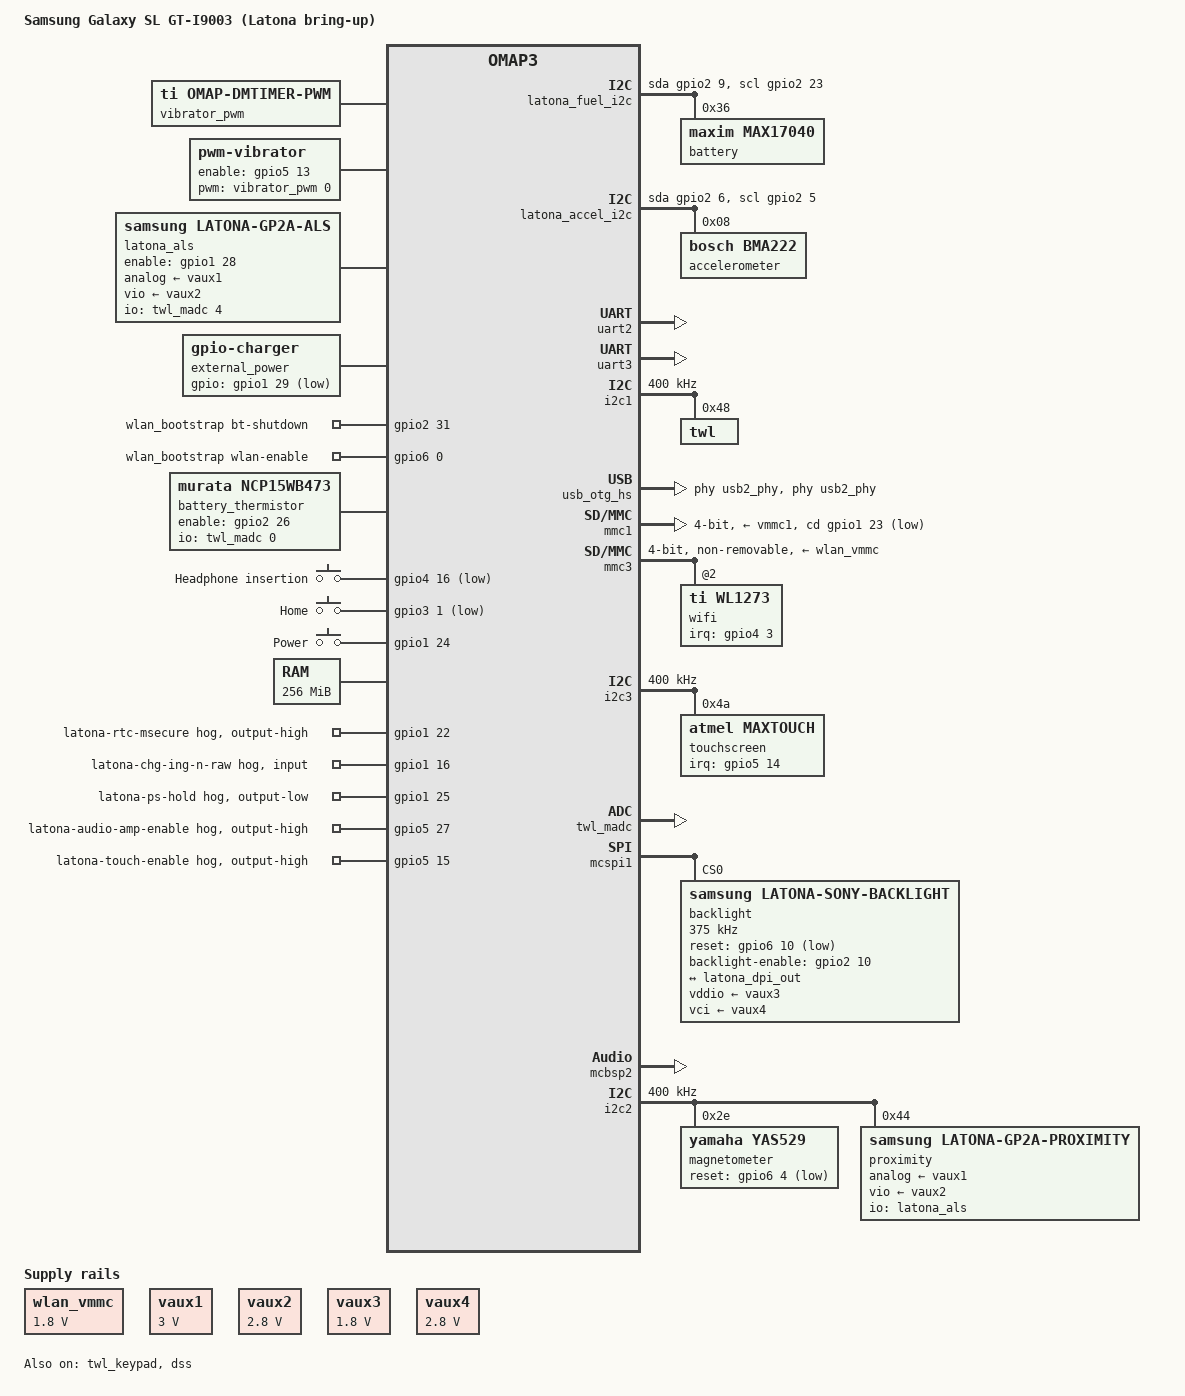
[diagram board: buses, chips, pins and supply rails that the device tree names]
// SPDX-License-Identifier: GPL-2.0-only
/* Experimental GT-I9003 bring-up; board wiring from Latona reference sources. */
/dts-v1/;
#include "omap36xx.dtsi"
#include <dt-bindings/interrupt-controller/irq.h>
#include <dt-bindings/input/input.h>

/ {
	model = "Samsung Galaxy SL GT-I9003 (Latona bring-up)";
	compatible = "samsung,latona", "ti,omap3630", "ti,omap3";
	aliases { display0 = &dss; };
    vibrator_pwm: vibrator-pwm {
        compatible = "ti,omap-dmtimer-pwm";
        #pwm-cells = <3>;
        ti,timers = <&timer10>;
        ti,clock-source = <0>; /* Reference OMAP_TIMER_SRC_SYS_CLK, 26MHz. */
        pinctrl-names = "default";
        pinctrl-0 = <&latona_vibrator_pwm_pin>;
    };
    vibrator {
        compatible = "pwm-vibrator";
        pwms = <&vibrator_pwm 0 44615 0>; /* 1160 / 26MHz. */
        pwm-names = "enable";
        enable-gpios = <&gpio5 13 GPIO_ACTIVE_HIGH>; /* GPIO141 */
        pinctrl-names = "default";
        pinctrl-0 = <&latona_vibrator_enable_pin>;
        /* No guessed PMIC supply: retain board power, use dummy regulator. */
    };

	chosen {
        #address-cells = <1>;
        #size-cells = <1>;
        ranges;
		stdout-path = "serial2:115200n8";
		linux,initrd-start = <0x82800000>;
		linux,initrd-end = <0x82b91d0c>;
        latona_simplefb: framebuffer@9fd80000 {
            compatible = "simple-framebuffer";
            reg = <0x9fd80000 0x00177000>;
            width = <480>;
            height = <800>;
            stride = <1920>;
            format = "x8r8g8b8";
            status = "disabled";
            display = <&dss>;
        };

	};
    latona_als: light-sensor {
        #io-channel-cells = <0>;
        compatible = "samsung,latona-gp2a-als";
        pinctrl-names = "default";
        pinctrl-0 = <&latona_als_enable_pin>;
        io-channels = <&twl_madc 4>;
        io-channel-names = "alsout";
        analog-supply = <&vaux1>;
        vio-supply = <&vaux2>;
        enable-gpios = <&gpio1 28 GPIO_ACTIVE_HIGH>;
    };
    external_power: external-power {
        compatible = "gpio-charger";
        charger-type = "unknown";
        gpios = <&gpio1 29 GPIO_ACTIVE_LOW>;
    };

    wlan_bootstrap: wlan-bootstrap {
        compatible = "samsung,latona-wl127x-pwrseq";
        vsim-test-supply = <&vsim>; /* b73 single-rail diagnostic, routing unconfirmed */
        bt-shutdown-gpios = <&gpio2 31 GPIO_ACTIVE_HIGH>; /* GPIO63 */
        wlan-enable-gpios = <&gpio6 0 GPIO_ACTIVE_HIGH>; /* GPIO160 */
        pinctrl-names = "default";
        pinctrl-0 = <&latona_bt_shutdown_pin &latona_wlan_enable_pin>;
    };
    wlan_vmmc: regulator-wlan {
        compatible = "regulator-fixed";
        regulator-name = "vwl1271";
        regulator-min-microvolt = <1800000>;
        regulator-max-microvolt = <1800000>;
        /* Nominal I/O voltage; WLAN_EN is owned exclusively by pwrseq. */
    };

    battery_thermistor: thermistor-battery {
        compatible = "murata,ncp15wb473";
        pinctrl-names = "default";
        pinctrl-0 = <&latona_temp_enable_pin>;
        io-channels = <&twl_madc 0>;
        enable-gpios = <&gpio2 26 GPIO_ACTIVE_HIGH>; /* GPIO58 EN_TEMP_VDD */
        startup-delay-us = <10000>;
        pullup-uv = <3000000>;
        pullup-ohm = <100000>;
        pulldown-ohm = <100000>;
    };

    latona_fuel_i2c: i2c-fuel {
        compatible = "i2c-gpio";
        #address-cells = <1>;
        #size-cells = <0>;
        pinctrl-names = "default";
        pinctrl-0 = <&latona_fuel_pins>;
        sda-gpios = <&gpio2 9 (GPIO_ACTIVE_HIGH | GPIO_OPEN_DRAIN)>; /* GPIO41 */
        scl-gpios = <&gpio2 23 (GPIO_ACTIVE_HIGH | GPIO_OPEN_DRAIN)>; /* GPIO55 */
        i2c-gpio,delay-us = <10>;
        i2c-gpio,timeout-ms = <100>;
        battery@36 {
            compatible = "maxim,max17040";
            reg = <0x36>;
            maxim,read-only;
        };
    };

    latona_accel_i2c: i2c-accel {
        compatible = "i2c-gpio";
        #address-cells = <1>;
        #size-cells = <0>;
        pinctrl-names = "default";
        pinctrl-0 = <&latona_accel_i2c_pins>;
        sda-gpios = <&gpio2 6 (GPIO_ACTIVE_HIGH | GPIO_OPEN_DRAIN)>; /* GPIO38 */
        scl-gpios = <&gpio2 5 (GPIO_ACTIVE_HIGH | GPIO_OPEN_DRAIN)>; /* GPIO37 */
        i2c-gpio,delay-us = <5>;
        i2c-gpio,timeout-ms = <100>;
        accelerometer@8 {
            compatible = "bosch,bma222";
            reg = <0x08>;
        };
    };

    gpio_keys: gpio-keys {
        compatible = "gpio-keys";
        pinctrl-names = "default";
        pinctrl-0 = <&latona_home_key_pin &latona_power_key_pin &latona_jack_detect_pin>;
        headphone-detect {
            label = "Headphone insertion";
            linux,input-type = <EV_SW>;
            linux,code = <SW_HEADPHONE_INSERT>;
            gpios = <&gpio4 16 GPIO_ACTIVE_LOW>; /* GPIO112, vendor invert=1 */
            debounce-interval = <100>;
        };
        home-key {
            label = "Home";
            linux,code = <KEY_HOME>;
            gpios = <&gpio3 1 GPIO_ACTIVE_LOW>; /* GPIO65, idle high */
            debounce-interval = <20>;
        };
        power-key {
            label = "Power";
            linux,code = <KEY_POWER>;
            gpios = <&gpio1 24 GPIO_ACTIVE_HIGH>; /* GPIO24, idle low */
            debounce-interval = <20>;
        };
    };

	/* Conservative window below unverified upper RAM reservations. */
	memory@80000000 {
		device_type = "memory";
		reg = <0x80000000 0x10000000>;
	};
	/* Initial hand-off only: preserve the panel's bootloader SPI setup. */
	latona_panel: panel {
		status = "disabled";
		compatible = "samsung,latona-sony-dpi", "panel-dpi";
		label = "lcd";
		power-supply = <&vaux4>;
		width-mm = <52>;
		height-mm = <86>;
		panel-timing {
			clock-frequency = <20571000>;
			hactive = <480>;
			vactive = <800>;
			hfront-porch = <10>;
			hsync-len = <10>;
			hback-porch = <10>;
			vfront-porch = <4>;
			vsync-len = <2>;
			vback-porch = <9>;
			hsync-active = <0>;
			vsync-active = <0>;
			de-active = <0>;
			pixelclk-active = <0>;
		};

	};
};

&cpu { cpu0-supply = <&vcc>; };

&omap3_pmx_core {
    latona_bt_shutdown_pin: latona-bt-shutdown-pin {
        pinctrl-single,pins = <OMAP3_CORE1_IOPAD(0x20ce, PIN_INPUT_PULLDOWN | MUX_MODE4)>;
    };

    latona_wlan_enable_pin: latona-wlan-enable-pin {
        pinctrl-single,pins = <OMAP3_CORE1_IOPAD(0x2194, PIN_INPUT_PULLUP | MUX_MODE4)>;
    };
    latona_wlan_irq_pin: latona-wlan-irq-pin {
        pinctrl-single,pins = <
            OMAP3_CORE1_IOPAD(0x2116, PIN_INPUT_PULLDOWN | MUX_MODE4) /* CAM_D0 GPIO99 */
        >;
    };

    latona_wlan_sdio_cmdclk: latona-wlan-sdio-cmdclk {
        pinctrl-single,pins = <
            OMAP3_CORE1_IOPAD(0x21d0, PIN_INPUT_PULLUP | MUX_MODE3)
            OMAP3_CORE1_IOPAD(0x21d2, PIN_INPUT_PULLUP | MUX_MODE3)
        >;
    };

    latona_dpi_default: latona-dpi-default {
        pinctrl-single,pins = <
            OMAP3_CORE1_IOPAD(0x20d4, 0x0200 | MUX_MODE0)
            OMAP3_CORE1_IOPAD(0x20d6, 0x0200 | MUX_MODE0)
            OMAP3_CORE1_IOPAD(0x20d8, 0x0200 | MUX_MODE0)
            OMAP3_CORE1_IOPAD(0x20da, 0x0200 | MUX_MODE0)
            OMAP3_CORE1_IOPAD(0x20dc, 0x1600 | MUX_MODE0)
            OMAP3_CORE1_IOPAD(0x20de, 0x1600 | MUX_MODE0)
            OMAP3_CORE1_IOPAD(0x20e0, 0x1600 | MUX_MODE0)
            OMAP3_CORE1_IOPAD(0x20e2, 0x1600 | MUX_MODE0)
            OMAP3_CORE1_IOPAD(0x20e4, 0x1600 | MUX_MODE0)
            OMAP3_CORE1_IOPAD(0x20e6, 0x1600 | MUX_MODE0)
            OMAP3_CORE1_IOPAD(0x20e8, 0x1600 | MUX_MODE0)
            OMAP3_CORE1_IOPAD(0x20ea, 0x1600 | MUX_MODE0)
            OMAP3_CORE1_IOPAD(0x20ec, 0x1600 | MUX_MODE0)
            OMAP3_CORE1_IOPAD(0x20ee, 0x1600 | MUX_MODE0)
            OMAP3_CORE1_IOPAD(0x20f0, 0x1600 | MUX_MODE0)
            OMAP3_CORE1_IOPAD(0x20f2, 0x1600 | MUX_MODE0)
            OMAP3_CORE1_IOPAD(0x20f4, 0x1600 | MUX_MODE0)
            OMAP3_CORE1_IOPAD(0x20f6, 0x1600 | MUX_MODE0)
            OMAP3_CORE1_IOPAD(0x20f8, 0x1600 | MUX_MODE0)
            OMAP3_CORE1_IOPAD(0x20fa, 0x1600 | MUX_MODE0)
            OMAP3_CORE1_IOPAD(0x20fc, 0x1600 | MUX_MODE0)
            OMAP3_CORE1_IOPAD(0x20fe, 0x1600 | MUX_MODE0)
            OMAP3_CORE1_IOPAD(0x2100, 0x1600 | MUX_MODE0)
            OMAP3_CORE1_IOPAD(0x2102, 0x1600 | MUX_MODE0)
            OMAP3_CORE1_IOPAD(0x2104, 0x1600 | MUX_MODE0)
            OMAP3_CORE1_IOPAD(0x2106, 0x1600 | MUX_MODE0)
            OMAP3_CORE1_IOPAD(0x2108, 0x1600 | MUX_MODE0)
            OMAP3_CORE1_IOPAD(0x210a, 0x1600 | MUX_MODE0)
        >;
    };
    latona_dpi_safe: latona-dpi-safe {
        pinctrl-single,pins = <
            OMAP3_CORE1_IOPAD(0x20d4, PIN_INPUT_PULLDOWN | MUX_MODE7)
            OMAP3_CORE1_IOPAD(0x20d6, PIN_INPUT_PULLDOWN | MUX_MODE7)
            OMAP3_CORE1_IOPAD(0x20d8, PIN_INPUT_PULLDOWN | MUX_MODE7)
            OMAP3_CORE1_IOPAD(0x20da, PIN_INPUT_PULLDOWN | MUX_MODE7)
            OMAP3_CORE1_IOPAD(0x20dc, PIN_INPUT_PULLDOWN | MUX_MODE7)
            OMAP3_CORE1_IOPAD(0x20de, PIN_INPUT_PULLDOWN | MUX_MODE7)
            OMAP3_CORE1_IOPAD(0x20e0, PIN_INPUT_PULLDOWN | MUX_MODE7)
            OMAP3_CORE1_IOPAD(0x20e2, PIN_INPUT_PULLDOWN | MUX_MODE7)
            OMAP3_CORE1_IOPAD(0x20e4, PIN_INPUT_PULLDOWN | MUX_MODE7)
            OMAP3_CORE1_IOPAD(0x20e6, PIN_INPUT_PULLDOWN | MUX_MODE7)
            OMAP3_CORE1_IOPAD(0x20e8, PIN_INPUT_PULLDOWN | MUX_MODE7)
            OMAP3_CORE1_IOPAD(0x20ea, PIN_INPUT_PULLDOWN | MUX_MODE7)
            OMAP3_CORE1_IOPAD(0x20ec, PIN_INPUT_PULLDOWN | MUX_MODE7)
            OMAP3_CORE1_IOPAD(0x20ee, PIN_INPUT_PULLDOWN | MUX_MODE7)
            OMAP3_CORE1_IOPAD(0x20f0, PIN_INPUT_PULLDOWN | MUX_MODE7)
            OMAP3_CORE1_IOPAD(0x20f2, PIN_INPUT_PULLDOWN | MUX_MODE7)
            OMAP3_CORE1_IOPAD(0x20f4, PIN_INPUT_PULLDOWN | MUX_MODE7)
            OMAP3_CORE1_IOPAD(0x20f6, PIN_INPUT_PULLDOWN | MUX_MODE7)
            OMAP3_CORE1_IOPAD(0x20f8, PIN_INPUT_PULLDOWN | MUX_MODE7)
            OMAP3_CORE1_IOPAD(0x20fa, PIN_INPUT_PULLDOWN | MUX_MODE7)
            OMAP3_CORE1_IOPAD(0x20fc, PIN_INPUT_PULLDOWN | MUX_MODE7)
            OMAP3_CORE1_IOPAD(0x20fe, PIN_INPUT_PULLDOWN | MUX_MODE7)
            OMAP3_CORE1_IOPAD(0x2100, PIN_INPUT_PULLDOWN | MUX_MODE7)
            OMAP3_CORE1_IOPAD(0x2102, PIN_INPUT_PULLDOWN | MUX_MODE7)
            OMAP3_CORE1_IOPAD(0x2104, PIN_INPUT_PULLDOWN | MUX_MODE7)
            OMAP3_CORE1_IOPAD(0x2106, PIN_INPUT_PULLDOWN | MUX_MODE7)
            OMAP3_CORE1_IOPAD(0x2108, PIN_INPUT_PULLDOWN | MUX_MODE7)
            OMAP3_CORE1_IOPAD(0x210a, PIN_INPUT_PULLDOWN | MUX_MODE7)
        >;
    };

    latona_panel_spi_default: latona-panel-spi-default {
        pinctrl-single,pins = <
            OMAP3_CORE1_IOPAD(0x21c8, PIN_INPUT_PULLDOWN | MUX_MODE0)
            OMAP3_CORE1_IOPAD(0x21ca, PIN_INPUT_PULLUP | MUX_MODE0)
            OMAP3_CORE1_IOPAD(0x21cc, PIN_INPUT | MUX_MODE0)
            OMAP3_CORE1_IOPAD(0x21ce, PIN_INPUT_PULLUP | MUX_MODE0)
        >;
    };
    latona_panel_spi_safe: latona-panel-spi-safe {
        pinctrl-single,pins = <
            OMAP3_CORE1_IOPAD(0x21c8, PIN_INPUT_PULLDOWN | MUX_MODE7)
            OMAP3_CORE1_IOPAD(0x21ca, PIN_INPUT_PULLDOWN | MUX_MODE7)
            OMAP3_CORE1_IOPAD(0x21cc, PIN_INPUT_PULLDOWN | MUX_MODE7)
            OMAP3_CORE1_IOPAD(0x21ce, PIN_INPUT_PULLDOWN | MUX_MODE7)
        >;
    };

    latona_temp_enable_pin: latona-temp-enable-pin {
        pinctrl-single,pins = <OMAP3_CORE1_IOPAD(0x20bc, PIN_INPUT_PULLDOWN | MUX_MODE4)>;
    };

    latona_accel_i2c_pins: latona-accel-i2c-pins {
        pinctrl-single,pins = <
            OMAP3_CORE1_IOPAD(0x2080, PIN_INPUT_PULLUP | MUX_MODE4)
            OMAP3_CORE1_IOPAD(0x2082, PIN_INPUT_PULLUP | MUX_MODE4)
        >;
    };
    latona_fuel_pins: latona-fuel-pins {
        pinctrl-single,pins = <
            OMAP3_CORE1_IOPAD(0x2088, PIN_INPUT_PULLUP | MUX_MODE4)
            OMAP3_CORE1_IOPAD(0x20b6, PIN_INPUT_PULLUP | MUX_MODE4)
        >;
    };

    latona_jack_detect_pin: latona-jack-detect-pin {
        /* CSI2_DX0, GPIO112; vendor input with pulls disabled. */
        pinctrl-single,pins = <OMAP3_CORE1_IOPAD(0x2134, PIN_INPUT | MUX_MODE4)>;
    };
    latona_home_key_pin: latona-home-key-pin {
        pinctrl-single,pins = <OMAP3_CORE1_IOPAD(0x20d2, PIN_INPUT | MUX_MODE4)>;
    };

    latona_i2c2_audio_pins: latona-i2c2-audio-pins {
        pinctrl-single,pins = <
            OMAP3_CORE1_IOPAD(0x21be, PIN_INPUT_PULLUP | MUX_MODE0)
            OMAP3_CORE1_IOPAD(0x21c0, PIN_INPUT_PULLUP | MUX_MODE0)
        >;
    };
    latona_amp_enable_pin: latona-amp-enable-pin {
        pinctrl-single,pins = <OMAP3_CORE1_IOPAD(0x218a, PIN_OUTPUT | MUX_MODE4)>;
    };
    latona_i2c3_pins: latona-i2c3-pins {
        pinctrl-single,pins = <
            OMAP3_CORE1_IOPAD(0x21c2, PIN_INPUT_PULLUP | MUX_MODE0)
            OMAP3_CORE1_IOPAD(0x21c4, PIN_INPUT_PULLUP | MUX_MODE0)
        >;
    };
    latona_touch_pins: latona-touch-pins {
        pinctrl-single,pins = <
            OMAP3_CORE1_IOPAD(0x2170, PIN_INPUT_PULLUP | MUX_MODE4)
            OMAP3_CORE1_IOPAD(0x2172, PIN_OUTPUT | MUX_MODE4)
        >;
    };

	latona_uart3_pins: latona-uart3-pins {
		pinctrl-single,pins = <
			OMAP3_CORE1_IOPAD(0x219e, PIN_INPUT | MUX_MODE0)
			OMAP3_CORE1_IOPAD(0x21a0, PIN_OUTPUT | MUX_MODE0)
		>;
	};
	latona_i2c1_pins: latona-i2c1-pins {
		pinctrl-single,pins = <
			OMAP3_CORE1_IOPAD(0x21ba, PIN_INPUT | MUX_MODE0)
			OMAP3_CORE1_IOPAD(0x21bc, PIN_INPUT | MUX_MODE0)
		>;
	};
	latona_usb_pins: latona-usb-pins {
		pinctrl-single,pins = <
			OMAP3_CORE1_IOPAD(0x21a2, PIN_INPUT | MUX_MODE0)
			OMAP3_CORE1_IOPAD(0x21a4, PIN_OUTPUT | MUX_MODE0)
			OMAP3_CORE1_IOPAD(0x21a6, PIN_INPUT | MUX_MODE0)
			OMAP3_CORE1_IOPAD(0x21a8, PIN_INPUT | MUX_MODE0)
			OMAP3_CORE1_IOPAD(0x21aa, PIN_INPUT | MUX_MODE0)
			OMAP3_CORE1_IOPAD(0x21ac, PIN_INPUT | MUX_MODE0)
			OMAP3_CORE1_IOPAD(0x21ae, PIN_INPUT | MUX_MODE0)
			OMAP3_CORE1_IOPAD(0x21b0, PIN_INPUT | MUX_MODE0)
			OMAP3_CORE1_IOPAD(0x21b2, PIN_INPUT | MUX_MODE0)
			OMAP3_CORE1_IOPAD(0x21b4, PIN_INPUT | MUX_MODE0)
			OMAP3_CORE1_IOPAD(0x21b6, PIN_INPUT | MUX_MODE0)
			OMAP3_CORE1_IOPAD(0x21b8, PIN_INPUT | MUX_MODE0)
		>;
	};
	latona_mmc1_pins: latona-mmc1-pins {
		pinctrl-single,pins = <
			OMAP3_CORE1_IOPAD(0x2144, PIN_INPUT_PULLUP | MUX_MODE0)
			OMAP3_CORE1_IOPAD(0x2146, PIN_INPUT_PULLUP | MUX_MODE0)
			OMAP3_CORE1_IOPAD(0x2148, PIN_INPUT_PULLUP | MUX_MODE0)
			OMAP3_CORE1_IOPAD(0x214a, PIN_INPUT_PULLUP | MUX_MODE0)
			OMAP3_CORE1_IOPAD(0x214c, PIN_INPUT_PULLUP | MUX_MODE0)
			OMAP3_CORE1_IOPAD(0x214e, PIN_INPUT_PULLUP | MUX_MODE0)
		>;
	};
};

&omap3_pmx_core2 {
    latona_rtc_msecure_pin: latona-rtc-msecure-pin {
        /* Latona vendor msecure_init: ETK_D8 GPIO22, mode4, high. */
        pinctrl-single,pins = <OMAP3630_CORE2_IOPAD(0x25ec, PIN_OUTPUT | MUX_MODE4)>;
    };
    latona_wlan_sdio_data: latona-wlan-sdio-data {
        pinctrl-single,pins = <
            OMAP3630_CORE2_IOPAD(0x25e2, PIN_INPUT_PULLUP | MUX_MODE2)
            OMAP3630_CORE2_IOPAD(0x25e4, PIN_INPUT_PULLUP | MUX_MODE2)
            OMAP3630_CORE2_IOPAD(0x25e6, PIN_INPUT_PULLUP | MUX_MODE2)
            OMAP3630_CORE2_IOPAD(0x25e8, PIN_INPUT_PULLUP | MUX_MODE2)
        >;
    };

    latona_charge_observe_pins: latona-charge-observe-pins {
        pinctrl-single,pins = <
            OMAP3630_CORE2_IOPAD(0x25e0, PIN_INPUT | MUX_MODE4) /* GPIO16, external pullup */
            OMAP3630_CORE2_IOPAD(0x25fa, PIN_INPUT_PULLUP | MUX_MODE4) /* GPIO29, wiring unverified */
        >;
    };

    latona_power_key_pin: latona-power-key-pin {
        pinctrl-single,pins = <OMAP3630_CORE2_IOPAD(0x25f0, PIN_INPUT_PULLDOWN | MUX_MODE4)>;
    };

	latona_mmc1_cd: latona-mmc1-cd-pins {
		pinctrl-single,pins = <
			OMAP3630_CORE2_IOPAD(0x25ee, PIN_INPUT_PULLUP | MUX_MODE4)
		>;
	};
    latona_als_enable_pin: latona-als-enable-pin {
        pinctrl-single,pins = <OMAP3630_CORE2_IOPAD(0x25f8, PIN_OUTPUT | MUX_MODE4)>;
    };
	latona_ps_hold: latona-ps-hold-pins {
		pinctrl-single,pins = <
			OMAP3630_CORE2_IOPAD(0x25f2, PIN_OUTPUT | MUX_MODE4)
		>;
	};
};

/* Preserve bootloader GPIO state, particularly active-low power hold. */
&omap3_pmx_core {
    latona_vibrator_pwm_pin: latona-vibrator-pwm-pin {
        pinctrl-single,pins = <OMAP3_CORE1_IOPAD(0x20b8, PIN_INPUT_PULLDOWN | MUX_MODE3)>;
    };
    latona_vibrator_enable_pin: latona-vibrator-enable-pin {
        pinctrl-single,pins = <OMAP3_CORE1_IOPAD(0x216e, PIN_OUTPUT | PIN_OFF_OUTPUT_LOW | MUX_MODE4)>;
    };
};

&omap3_pmx_core {
    latona_magnetometer_reset_pin: latona-magnetometer-reset-pin {
        pinctrl-single,pins = <OMAP3_CORE1_IOPAD(0x219c, PIN_OUTPUT | MUX_MODE4)>;
    };
};

&gpio1 {
	ti,no-reset-on-init;
	pinctrl-names = "default";
	pinctrl-0 = <&latona_ps_hold &latona_charge_observe_pins &latona_rtc_msecure_pin>;
    rtc-msecure-hog {
        gpio-hog;
        gpios = <22 GPIO_ACTIVE_HIGH>;
        output-high;
        line-name = "latona-rtc-msecure";
    };
    charge-status-observe-hog {
        gpio-hog;
        gpios = <16 GPIO_ACTIVE_HIGH>;
        input;
        line-name = "latona-chg-ing-n-raw";
    };
	ps-hold-hog {
		gpio-hog;
		gpios = <25 GPIO_ACTIVE_HIGH>;
		output-low;
		line-name = "latona-ps-hold";
	};
};
&gpio2 { ti,no-reset-on-init; };
&gpio3 { ti,no-reset-on-init; };
&gpio4 { ti,no-reset-on-init; };
&gpio5 {
    ti,no-reset-on-init;
    /* Vendor max97000 probe drives GPIO155 high. No amp register writes. */
    audio-amp-enable-hog {
        gpio-hog;
        gpios = <27 GPIO_ACTIVE_HIGH>;
        output-high;
        line-name = "latona-audio-amp-enable";
    };
    touch-enable-hog {
        gpio-hog;
        gpios = <15 GPIO_ACTIVE_HIGH>; /* GPIO143 TOUCH_EN */
        output-high;
        line-name = "latona-touch-enable";
    };
};
&gpio6 {
	ti,no-reset-on-init;

};

&omap3_pmx_core {
    latona_bluetooth_uart_pins: latona-bluetooth-uart-pins {
        pinctrl-single,pins = <
            OMAP3_CORE1_IOPAD(0x2174, PIN_INPUT | MUX_MODE0)
            OMAP3_CORE1_IOPAD(0x2176, PIN_OUTPUT | MUX_MODE0)
            OMAP3_CORE1_IOPAD(0x2178, PIN_OUTPUT | MUX_MODE0)
            OMAP3_CORE1_IOPAD(0x217a, PIN_INPUT | MUX_MODE0)
        >;
    };
};
&uart2 {
    status = "okay";
    pinctrl-names = "default";
    pinctrl-0 = <&latona_bluetooth_uart_pins>;
};

&uart3 {
	status = "okay";
	pinctrl-names = "default";
	pinctrl-0 = <&latona_uart3_pins>;
};

&i2c1 {
	status = "okay";
	clock-frequency = <400000>;
	pinctrl-names = "default";
	pinctrl-0 = <&latona_i2c1_pins>;
	twl: twl@48 {
		reg = <0x48>;
		interrupt-parent = <&intc>;
		interrupts = <7>;
	};
};

#include "twl4030.dtsi"
#include "twl4030_omap3.dtsi"

&charger { status = "disabled"; };
&twl_keypad {
    status = "okay";
    keypad,num-rows = <5>;
    keypad,num-columns = <6>;
    linux,keymap = <0x02010073 0x01010072>; /* row2/col1 up, row1/col1 down */
};
&vaux1 {
	regulator-min-microvolt = <3000000>;
	regulator-max-microvolt = <3000000>;
};
&vaux2 {
	regulator-min-microvolt = <2800000>;
	regulator-max-microvolt = <2800000>;
};
&vaux3 {
	regulator-min-microvolt = <1800000>;
	regulator-max-microvolt = <1800000>;
	regulator-boot-on;
};
&vaux4 {
	regulator-min-microvolt = <2800000>;
	regulator-max-microvolt = <2800000>;
	regulator-boot-on;
};
&vpll2 { regulator-always-on; };

&usb_otg_hs {
	status = "okay";
	pinctrl-names = "default";
	pinctrl-0 = <&latona_usb_pins>;
	interface-type = <0>; /* ULPI */
	mode = <2>; /* MUSB_PERIPHERAL */
	power = <50>;
	usb-phy = <&usb2_phy>;
	phys = <&usb2_phy>;
	phy-names = "usb2-phy";
};

/* External slot only; confirmed against stock host and GPIO23 card detect. */
&mmc1 {
	status = "okay";
	pinctrl-names = "default";
	pinctrl-0 = <&latona_mmc1_pins &latona_mmc1_cd>;
	vmmc-supply = <&vmmc1>;
	bus-width = <4>;
	max-frequency = <24000000>;
	cd-gpios = <&gpio1 23 GPIO_ACTIVE_LOW>;
	cd-debounce-delay-ms = <200>;
	disable-wp;
	no-1-8-v;
};
&mmc2 { status = "disabled"; };
&mmc3 {
    status = "okay";
    pinctrl-names = "default";
    pinctrl-0 = <&latona_wlan_sdio_cmdclk &latona_wlan_sdio_data>;
    vmmc-supply = <&wlan_vmmc>;
    mmc-pwrseq = <&wlan_bootstrap>;
    bus-width = <4>;
    max-frequency = <24000000>; /* Stock SDIO clock; init remains 400kHz unless diagnostic override. */
    non-removable;
    cap-power-off-card;
    no-1-8-v;
    #address-cells = <1>;
    #size-cells = <0>;
    wifi@2 {
        compatible = "ti,wl1273";
        reg = <2>;
        pinctrl-names = "default";
        pinctrl-0 = <&latona_wlan_irq_pin>;
        interrupt-parent = <&gpio4>;
        interrupts = <3 IRQ_TYPE_LEVEL_HIGH>; /* GPIO99 */
        ref-clock-frequency = <38400000>;
    };
};
&gpmc { status = "disabled"; };
&dss {
    pinctrl-names = "default", "sleep";
    pinctrl-0 = <&latona_dpi_default>;
    pinctrl-1 = <&latona_dpi_safe>;
	status = "okay";
	vdds_dsi-supply = <&vpll2>;

	port {
		latona_dpi_out: endpoint {
			remote-endpoint = <&latona_panel_in>;
			data-lines = <24>;
		};
	};
};
&isp { status = "disabled"; };

/* Keep initialization protections for the three unused display encoders. */
&dsi { ti,no-reset-on-init; ti,no-idle-on-init; };
&rfbi { ti,no-reset-on-init; ti,no-idle-on-init; };
&venc { ti,no-reset-on-init; ti,no-idle-on-init; };

/* This unit aborts on SHAM SYSCONFIG (0x480c3060); omit its hwmod. */
&sham { status = "disabled"; };

/* AES1 revision read aborts on this unit; defer hardware crypto targets. */
&aes1_target { status = "disabled"; };
&aes2_target { status = "disabled"; };
/* Nonessential for initial shell; upstream marks HS access as conditional. */
&rng_target { status = "disabled"; };

/* Retain controller NVM configuration; no maxtouch.cfg is supplied. */
&i2c3 {
    status = "okay";
    clock-frequency = <400000>;
    touchscreen@4a {
        compatible = "atmel,maxtouch";
        pinctrl-names = "default";
        pinctrl-0 = <&latona_i2c3_pins &latona_touch_pins>;
        reg = <0x4a>;
        interrupt-parent = <&gpio5>;
        interrupts = <14 IRQ_TYPE_EDGE_FALLING>; /* GPIO142 */
        touchscreen-swapped-x-y;
        linux,keycodes = <KEY_MENU KEY_BACK>;
    };
};

/* Observation only: keep charger disabled; do not bind battery temperature yet. */
&twl_madc {
    status = "okay";
    vusb3v1-supply = <&vusb3v1>;
};

/* Stage 1: controller only; preserve SBL pad state, no panel transactions. */
&mcspi1 {
    status = "okay";
    backlight@0 {
        compatible = "samsung,latona-sony-backlight";
        pinctrl-names = "default", "sleep";
        pinctrl-0 = <&latona_panel_spi_default>;
        pinctrl-1 = <&latona_panel_spi_safe>;
        reset-gpios = <&gpio6 10 GPIO_ACTIVE_LOW>;
        backlight-enable-gpios = <&gpio2 10 GPIO_ACTIVE_HIGH>; /* GPIO42, ASIS only */
        vddio-supply = <&vaux3>;
        vci-supply = <&vaux4>;
        reg = <0>;
        spi-max-frequency = <375000>;
        port {
            latona_panel_in: endpoint {
                remote-endpoint = <&latona_dpi_out>;
            };
        };
    };
};
&mcspi2 { status = "disabled"; };
&mcspi3 { status = "disabled"; };
&mcspi4 { status = "disabled"; };

/* Audio probe: reference McBSP2 wiring, no external amplifier GPIO control. */
/ {
    sound {
        pinctrl-names = "default";
        pinctrl-0 = <&latona_i2c2_audio_pins &latona_amp_enable_pin>;
        compatible = "ti,omap-twl4030";
        ti,model = "Latona-TWL4030";
        ti,mcbsp = <&mcbsp2>;
    };
};
&mcbsp2 {
    status = "okay";
    pinctrl-names = "default";
    pinctrl-0 = <&latona_mcbsp2_pins>;
};
&twl {
    latona_audio: audio {
        compatible = "ti,twl4030-audio";
        codec { };
    };
};
&omap3_pmx_core {
    latona_mcbsp2_pins: latona-mcbsp2-pins {
        pinctrl-single,pins = <
            OMAP3_CORE1_IOPAD(0x213c, PIN_INPUT_PULLDOWN | MUX_MODE0)
            OMAP3_CORE1_IOPAD(0x213e, PIN_INPUT_PULLDOWN | MUX_MODE0)
            OMAP3_CORE1_IOPAD(0x2140, PIN_INPUT_PULLDOWN | MUX_MODE0)
            OMAP3_CORE1_IOPAD(0x2142, PIN_OUTPUT | MUX_MODE0)
        >;
    };
};

/* Shared I2C2 bus: audio and fixed-address GP2A proximity client. */
&i2c2 {
    status = "okay";
    clock-frequency = <400000>;
    magnetometer@2e {
        compatible = "yamaha,yas529";
        reg = <0x2e>;
        reset-gpios = <&gpio6 4 GPIO_ACTIVE_LOW>; /* GPIO164 */
        pinctrl-names = "default";
        pinctrl-0 = <&latona_magnetometer_reset_pin>;
    };
    proximity@44 {
        compatible = "samsung,latona-gp2a-proximity";
        reg = <0x44>;
        io-channels = <&latona_als>;
        io-channel-names = "ambient";
        analog-supply = <&vaux1>;
        vio-supply = <&vaux2>;
    };
};
